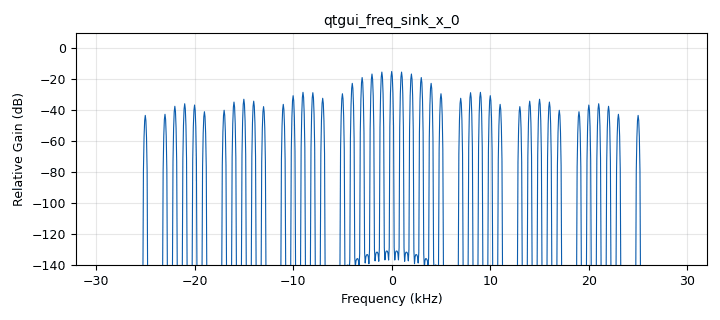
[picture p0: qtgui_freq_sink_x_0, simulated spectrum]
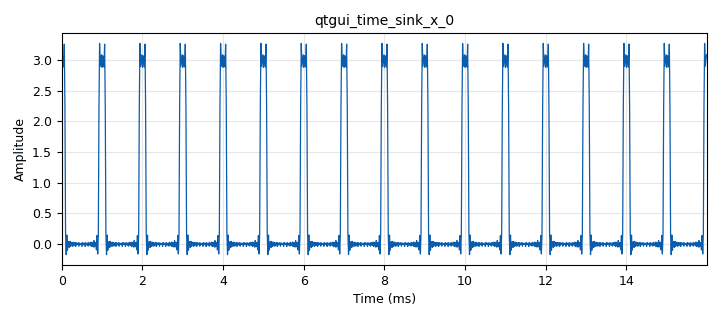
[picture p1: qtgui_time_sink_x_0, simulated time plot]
options:
  parameters:
    generate_options: qt_gui
    id: treno4
    output_language: python
    title: Not titled yet
  states: {}

blocks:
- name: samp_rate
  id: variable
  parameters:
    value: '64000'
  states: {}
- name: analog_sig_source_x_0
  id: analog_sig_source_x
  parameters:
    amp: '0.5'
    freq: '0'
    offset: '0'
    phase: '0'
    samp_rate: samp_rate
    type: float
    waveform: analog.GR_CONST_WAVE
  states: {}
- name: analog_sig_source_x_1
  id: analog_sig_source_x
  parameters:
    amp: '0.9549296585'
    freq: '1000'
    offset: '0'
    phase: '0'
    samp_rate: samp_rate
    type: float
    waveform: analog.GR_COS_WAVE
  states: {}
- name: analog_sig_source_x_1_0
  id: analog_sig_source_x
  parameters:
    amp: '0.82699'
    freq: '2000'
    offset: '0'
    phase: '0'
    samp_rate: samp_rate
    type: float
    waveform: analog.GR_COS_WAVE
  states: {}
- name: analog_sig_source_x_1_1
  id: analog_sig_source_x
  parameters:
    amp: '0.636619'
    freq: '3000'
    offset: '0'
    phase: '0'
    samp_rate: samp_rate
    type: float
    waveform: analog.GR_COS_WAVE
  states: {}
- name: analog_sig_source_x_1_2
  id: analog_sig_source_x
  parameters:
    amp: '0.41349'
    freq: '4000'
    offset: '0'
    phase: '0'
    samp_rate: samp_rate
    type: float
    waveform: analog.GR_COS_WAVE
  states: {}
- name: analog_sig_source_x_1_3
  id: analog_sig_source_x
  parameters:
    amp: '0.19098'
    freq: '5000'
    offset: '0'
    phase: '0'
    samp_rate: samp_rate
    type: float
    waveform: analog.GR_COS_WAVE
  states: {}
- name: analog_sig_source_x_1_4
  id: analog_sig_source_x
  parameters:
    amp: '0.136418'
    freq: '7000'
    offset: '0'
    phase: '3.14'
    samp_rate: samp_rate
    type: float
    waveform: analog.GR_COS_WAVE
  states: {}
- name: analog_sig_source_x_1_5
  id: analog_sig_source_x
  parameters:
    amp: '0.20674'
    freq: '8000'
    offset: '0'
    phase: '3.14'
    samp_rate: samp_rate
    type: float
    waveform: analog.GR_COS_WAVE
  states: {}
- name: analog_sig_source_x_1_6
  id: analog_sig_source_x
  parameters:
    amp: '0.212206'
    freq: '9000'
    offset: '0'
    phase: '3.14'
    samp_rate: samp_rate
    type: float
    waveform: analog.GR_COS_WAVE
  states: {}
- name: analog_sig_source_x_1_7
  id: analog_sig_source_x
  parameters:
    amp: '0.165398'
    freq: '10000'
    offset: '0'
    phase: '3.14'
    samp_rate: samp_rate
    type: float
    waveform: analog.GR_COS_WAVE
  states: {}
- name: analog_sig_source_x_1_8
  id: analog_sig_source_x
  parameters:
    amp: '0.086811'
    freq: '11000'
    offset: '0'
    phase: '3.14'
    samp_rate: samp_rate
    type: float
    waveform: analog.GR_COS_WAVE
  states: {}
- name: analog_sig_source_x_1_9
  id: analog_sig_source_x
  parameters:
    amp: '0.0734'
    freq: '13000'
    offset: '0'
    phase: '0'
    samp_rate: samp_rate
    type: float
    waveform: analog.GR_COS_WAVE
  states: {}
- name: analog_sig_source_x_2
  id: analog_sig_source_x
  parameters:
    amp: '0.11'
    freq: '14000'
    offset: '0'
    phase: '0'
    samp_rate: samp_rate
    type: float
    waveform: analog.GR_COS_WAVE
  states: {}
- name: analog_sig_source_x_2_0
  id: analog_sig_source_x
  parameters:
    amp: '0.127'
    freq: '15000'
    offset: '0'
    phase: '0'
    samp_rate: samp_rate
    type: float
    waveform: analog.GR_COS_WAVE
  states: {}
- name: analog_sig_source_x_2_1
  id: analog_sig_source_x
  parameters:
    amp: '0.103'
    freq: '16000'
    offset: '0'
    phase: '0'
    samp_rate: samp_rate
    type: float
    waveform: analog.GR_COS_WAVE
  states: {}
- name: analog_sig_source_x_2_2
  id: analog_sig_source_x
  parameters:
    amp: '0.056'
    freq: '17000'
    offset: '0'
    phase: '0'
    samp_rate: samp_rate
    type: float
    waveform: analog.GR_COS_WAVE
  states: {}
- name: analog_sig_source_x_2_3
  id: analog_sig_source_x
  parameters:
    amp: '0.0502'
    freq: '19000'
    offset: '0'
    phase: '3.14'
    samp_rate: samp_rate
    type: float
    waveform: analog.GR_COS_WAVE
  states: {}
- name: analog_sig_source_x_2_3_0
  id: analog_sig_source_x
  parameters:
    amp: '0.0826'
    freq: '20000'
    offset: '0'
    phase: '3.14'
    samp_rate: samp_rate
    type: float
    waveform: analog.GR_COS_WAVE
  states: {}
- name: analog_sig_source_x_2_3_1
  id: analog_sig_source_x
  parameters:
    amp: '0.0909'
    freq: '21000'
    offset: '0'
    phase: '3.14'
    samp_rate: samp_rate
    type: float
    waveform: analog.GR_COS_WAVE
  states: {}
- name: analog_sig_source_x_2_3_2
  id: analog_sig_source_x
  parameters:
    amp: '0.07518'
    freq: '22000'
    offset: '0'
    phase: '3.14'
    samp_rate: samp_rate
    type: float
    waveform: analog.GR_COS_WAVE
  states: {}
- name: analog_sig_source_x_2_3_3
  id: analog_sig_source_x
  parameters:
    amp: '0.0415'
    freq: '23000'
    offset: '0'
    phase: '3.14'
    samp_rate: samp_rate
    type: float
    waveform: analog.GR_COS_WAVE
  states: {}
- name: analog_sig_source_x_2_3_4
  id: analog_sig_source_x
  parameters:
    amp: '0.03819'
    freq: '25000'
    offset: '0'
    phase: '0'
    samp_rate: samp_rate
    type: float
    waveform: analog.GR_COS_WAVE
  states: {}
- name: audio_sink_0
  id: audio_sink
  parameters:
    samp_rate: samp_rate
  states: {}
- name: blocks_add_xx_0
  id: blocks_add_xx
  parameters:
    num_inputs: '22'
    type: float
  states: {}
- name: blocks_throttle_0
  id: blocks_throttle
  parameters:
    samples_per_second: samp_rate
    type: float
  states: {}
- name: qtgui_freq_sink_x_0
  id: qtgui_freq_sink_x
  parameters:
    bw: samp_rate
    fc: '0'
    fftsize: '1024'
    type: float
  states: {}
- name: qtgui_time_sink_x_0
  id: qtgui_time_sink_x
  parameters:
    autoscale: 'True'
    size: '1024'
    srate: samp_rate
    type: float
  states: {}

connections:
- [analog_sig_source_x_0, '0', blocks_add_xx_0, '0']
- [analog_sig_source_x_1, '0', blocks_add_xx_0, '1']
- [analog_sig_source_x_1_0, '0', blocks_add_xx_0, '2']
- [analog_sig_source_x_1_1, '0', blocks_add_xx_0, '3']
- [analog_sig_source_x_1_2, '0', blocks_add_xx_0, '4']
- [analog_sig_source_x_1_3, '0', blocks_add_xx_0, '5']
- [analog_sig_source_x_1_4, '0', blocks_add_xx_0, '6']
- [analog_sig_source_x_1_5, '0', blocks_add_xx_0, '7']
- [analog_sig_source_x_1_6, '0', blocks_add_xx_0, '8']
- [analog_sig_source_x_1_7, '0', blocks_add_xx_0, '9']
- [analog_sig_source_x_1_8, '0', blocks_add_xx_0, '10']
- [analog_sig_source_x_1_9, '0', blocks_add_xx_0, '11']
- [analog_sig_source_x_2, '0', blocks_add_xx_0, '12']
- [analog_sig_source_x_2_0, '0', blocks_add_xx_0, '13']
- [analog_sig_source_x_2_1, '0', blocks_add_xx_0, '14']
- [analog_sig_source_x_2_2, '0', blocks_add_xx_0, '15']
- [analog_sig_source_x_2_3, '0', blocks_add_xx_0, '16']
- [analog_sig_source_x_2_3_0, '0', blocks_add_xx_0, '17']
- [analog_sig_source_x_2_3_1, '0', blocks_add_xx_0, '18']
- [analog_sig_source_x_2_3_2, '0', blocks_add_xx_0, '19']
- [analog_sig_source_x_2_3_3, '0', blocks_add_xx_0, '20']
- [analog_sig_source_x_2_3_4, '0', blocks_add_xx_0, '21']
- [blocks_add_xx_0, '0', blocks_throttle_0, '0']
- [blocks_throttle_0, '0', audio_sink_0, '0']
- [blocks_throttle_0, '0', qtgui_freq_sink_x_0, '0']
- [blocks_throttle_0, '0', qtgui_time_sink_x_0, '0']

metadata:
  file_format: 1
  grc_version: 3.10.5.1
